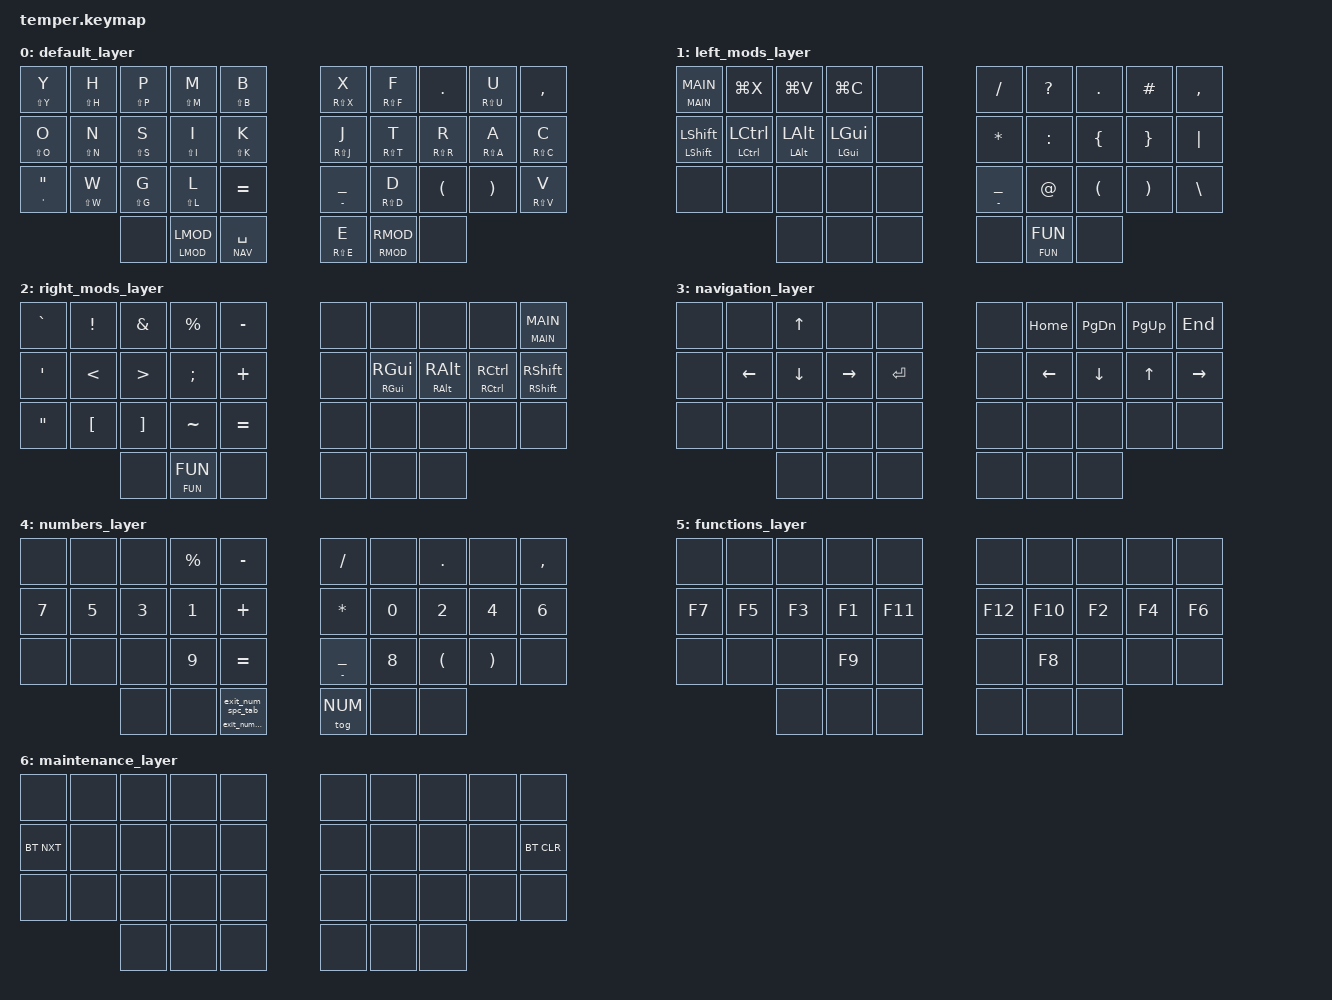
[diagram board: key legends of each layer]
/*
 * Copyright (c) 2020 The ZMK Contributors
 *
 * SPDX-License-Identifier: MIT
 */

#include <behaviors.dtsi>
#include <dt-bindings/zmk/keys.h>
#include <dt-bindings/zmk/bt.h>
#include <dt-bindings/zmk/outputs.h>

#define DEFAULT 0
#define LMOD    1
#define RMOD    2
#define NAV     3
#define NUM     4
#define FUN     5
#define MAIN    6

&mt {
  flavor = "tap-preferred";
  tapping_term_ms = <200>;
};

&lt {
  flavor = "tap-preferred";
  tapping_term_ms = <200>;
  quick_tap_ms = <125>;
  global-quick-tap;
};

&caps_word {
  // continue-list = <UNDERSCORE MINUS>;
};

&sl {
  // release-after-ms = <2000>;
};

// make this more responsive
&sk {
  // release-after-ms = <2000>;
  quick-release;
  // for callum-style mods
  /delete-property/ ignore-modifiers;
};

/ {
  combos {
    compatible = "zmk,combos";
    /*
                      KEY POSITIONS
      ╭────────────────────╮ ╭────────────────────╮
      │  0   1   2   3   4 │ │  5   6   7   8   9 │
      │ 10  11  12  13  14 │ │ 15  16  17  18  19 │
      │ 20  21  22  23  24 │ │ 25  26  27  28  29 │
      ╰───────╮ 30  31  32 │ │ 33  34  35 ╭───────╯
              ╰────────────╯ ╰────────────╯
    */
		// Add combo for /
		combo_del {
			timeout-ms = <50>;
			key-positions = <0 1>;
			bindings = <&kp DEL>;
		};
		combo_q {
			timeout-ms = <50>;
			key-positions = <2 3>;
			bindings = <&mt LS(Q) Q>;
		};
		combo_z {
			timeout-ms = <50>;
			key-positions = <6 7>;
			bindings = <&mt LS(Z) Z>;
		};
		combo_bckspc {
			timeout-ms = <50>;
			key-positions = <17 18>;
			bindings = <&kp BSPC>;
		};
		combo_esc {
			timeout-ms = <50>;
			key-positions = <11 12>;
			bindings = <&kp ESC>;
		};
		combo_tab {
			timeout-ms = <50>;
			key-positions = <12 13>;
			bindings = <&mt LS(TAB) TAB>;
		};
		combo_ret {
			timeout-ms = <50>;
			key-positions = <16 17>;
			bindings = <&kp RET>;
		};
		combo_gt_eq {
			timeout-ms = <50>;
			key-positions = <2 13>;
			bindings = <&gt_eq>;
		};
		combo_lt_eq {
			timeout-ms = <50>;
			key-positions = <13 22>;
			bindings = <&lt_eq>;
		};
		combo_caps_word {
			timeout-ms = <50>;
			key-positions = <0 10>;
			bindings = <&caps_word>;
		};
		combo_dllr {
			timeout-ms = <50>;
			key-positions = <20 21>;
			bindings = <&kp DLLR>;
		};
		combo_not_equal {
			timeout-ms = <50>;
			key-positions = <24 25>;
			bindings = <&nt_eq>;
		};
		combo_caret {
			timeout-ms = <50>;
			key-positions = <28 29>;
			bindings = <&kp CARET>;
		};
		combo_num_word {
			timeout-ms = <50>;
			key-positions = <31 34>;
			bindings = <&tog NUM>;
		};
	};

	macros {
		exit_num_spc_tab: exit_num_spc_tab {
			label = "exit_num_spc_tab";
			compatible = "zmk,behavior-macro";
			#binding-cells = <0>;
			wait-ms = <0>;
			tap-ms = <0>;
			bindings = <&kp SPACE &tog NUM>;
		};
		exit_num_spc_hold: exit_num_spc_hold {
			label = "exit_num_spc_hold";
			compatible = "zmk,behavior-macro";
			#binding-cells = <0>;
			wait-ms = <0>;
			tap-ms = <0>;
			bindings
				= <&macro_tap &tog NUM>
				, <&macro_press &mo NAV>
				, <&macro_pause_for_release>
				, <&macro_release &mo NAV>
				, <&macro_tap &tog NUM>
				;
		};
		nt_eq: nt_eq {
			label = "nt_eq";
			compatible = "zmk,behavior-macro";
			#binding-cells = <0>;
			wait-ms = <0>;
			tap-ms = <0>;
			bindings = <&kp EXCL &kp EQUAL>;
		};
		gt_eq: gt_eq {
			label = "gt_eq";
			wait-ms = <0>;
			tap-ms = <0>;
			compatible = "zmk,behavior-macro";
			#binding-cells = <0>;
			bindings = <&kp GT &kp EQUAL>;
		};
		lt_eq: lt_eq {
			label = "lt_eq";
			wait-ms = <0>;
			tap-ms = <0>;
			compatible = "zmk,behavior-macro";
			#binding-cells = <0>;
			bindings = <&kp LT &kp EQUAL>;
		};
	};

	behaviors {
		qth: quick_tap_hold {
			compatible = "zmk,behavior-hold-tap";
			label = "QUICK_TAP_HOLD";
			#binding-cells = <2>;
			tapping-term-ms = <150>;
			quick_tap_ms = <125>;
			global-quick-tap;
			flavor = "tap-preferred";
			bindings = <&kp>, <&kp>;
		};
		slt: stick_layer_tab {
			compatible = "zmk,behavior-hold-tap";
			label = "STICKY_LAYER_TAB";
			#binding-cells = <2>;
			tapping-term-ms = <150>;
			quick_tap_ms = <0>;
			flavor = "tap-preferred";
			bindings = <&mo>, <&sl>;
		};
		sht: stick_hold_tab {
			compatible = "zmk,behavior-hold-tap";
			label = "STICKY_HOLD_TAB";
			#binding-cells = <2>;
			tapping-term-ms = <150>;
			quick_tap_ms = <0>;
			flavor = "tap-preferred";
			bindings = <&kp>, <&sk>;
		};
		ens: exit_num_spc {
			compatible = "zmk,behavior-hold-tap";
			label = "exit_num_spc";
			#binding-cells = <2>;
			tapping-term-ms = <150>;
			quick_tap_ms = <125>;
			global-quick-tap;
			flavor = "tap-preferred";
			// hold does not work
			bindings = <&exit_num_spc_hold>, <&exit_num_spc_tab>;
		};
	};

	keymap {
		compatible = "zmk,keymap";
		default_layer {
			bindings = <
// ╭─────────────┬─────────────┬─────────────┬─────────────┬─────────────╮   ╭─────────────┬─────────────┬─────────────┬─────────────┬─────────────╮
    &mt LS(Y) Y    &mt LS(H) H   &mt LS(P) P   &mt LS(M) M   &mt LS(B) B       &mt RS(X) X   &mt RS(F) F     &kp DOT     &mt RS(U) U    &kp COMMA
// ├─────────────┼─────────────┼─────────────┼─────────────┼─────────────┤   ├─────────────┼─────────────┼─────────────┼─────────────┼─────────────┤
    &mt LS(O) O    &mt LS(N) N   &mt LS(S) S   &mt LS(I) I   &mt LS(K) K       &mt RS(J) J   &mt RS(T) T   &mt RS(R) R   &mt RS(A) A   &mt RS(C) C
// ├─────────────┼─────────────┼─────────────┼─────────────┼─────────────┤   ├─────────────┼─────────────┼─────────────┼─────────────┼─────────────┤
    &mt SQT DQT    &mt LS(W) W   &mt LS(G) G   &mt LS(L) L     &kp EQUAL     &mt MINUS UNDER &mt RS(D) D    &kp LPAR       &kp RPAR    &mt RS(V) V
// ╰─────────────┴─────────────┼─────────────┼─────────────┼─────────────┤   ├─────────────┼─────────────┼─────────────┼─────────────┴─────────────╯
                                  &none      &slt LMOD LMOD &lt NAV SPACE      &mt RS(E) E  &slt RMOD RMOD   &none
//                             ╰─────────────┴─────────────┴─────────────╯   ╰─────────────┴─────────────┴─────────────╯
			>;
		};

		// good place for shortcuts like cmd+c/cmd+v
		left_mods_layer {
			bindings = <
// ╭─────────────┬─────────────┬─────────────┬─────────────┬─────────────╮   ╭─────────────┬─────────────┬─────────────┬─────────────┬─────────────╮
    &slt MAIN MAIN  &kp LG(X)     &kp LG(V)     &kp LG(C)       &none       		&kp SLASH 		&kp QMARK 		&kp DOT 			&kp HASH 			&kp COMMA
// ├─────────────┼─────────────┼─────────────┼─────────────┼─────────────┤   ├─────────────┼─────────────┼─────────────┼─────────────┼─────────────┤
		&sht LSHIFT LSHIFT &sht LCTRL LCTRL &sht LALT LALT &sht LGUI LGUI &none     &kp STAR 			&kp COLON 		&kp LBRC 			&kp RBRC 			&kp PIPE
// ├─────────────┼─────────────┼─────────────┼─────────────┼─────────────┤   ├─────────────┼─────────────┼─────────────┼─────────────┼─────────────┤
        &none    			&none   			&none   			&none    			&none     			&mt MINUS UNDER &kp AT 			&kp LPAR 			&kp RPAR 			&kp BSLH
// ╰─────────────┴─────────────┼─────────────┼─────────────┼─────────────┤   ├─────────────┼─────────────┼─────────────┼─────────────┴─────────────╯
																		&none    			&none 				&none    					&none   		&slt FUN FUN  	&none
//                             ╰─────────────┴─────────────┴─────────────╯   ╰─────────────┴─────────────┴─────────────╯
			>;
		};

		right_mods_layer {
			bindings = <
// ╭─────────────┬─────────────┬─────────────┬─────────────┬─────────────╮   ╭─────────────┬─────────────┬─────────────┬─────────────┬─────────────╮
			&kp GRAVE 		&kp EXCL 			&kp AMPS 			&kp PRCNT 		&kp MINUS       	 &none 				 &none 				 &none 				 &none 			&slt MAIN MAIN
// ├─────────────┼─────────────┼─────────────┼─────────────┼─────────────┤   ├─────────────┼─────────────┼─────────────┼─────────────┼─────────────┤
			&kp SQT 			&kp LT 				&kp GT 				&kp SEMI 			&kp PLUS     			 &none 		 &sht RGUI RGUI &sht RALT RALT &sht RCTRL RCTRL &sht RSHIFT RSHIFT
// ├─────────────┼─────────────┼─────────────┼─────────────┼─────────────┤   ├─────────────┼─────────────┼─────────────┼─────────────┼─────────────┤
      &kp DQT 			&kp LBKT 			&kp RBKT 			&kp TILDE 		&kp EQUAL     		 &none 				 &none 				 &none 				 &none 				 &none
// ╰─────────────┴─────────────┼─────────────┼─────────────┼─────────────┤   ├─────────────┼─────────────┼─────────────┼─────────────┴─────────────╯
																		&none    	 &slt FUN FUN 	&none    					 &none   		   &none  		  &none
//                             ╰─────────────┴─────────────┴─────────────╯   ╰─────────────┴─────────────┴─────────────╯
			>;
		};

		navigation_layer {
			bindings = <
// ╭─────────────┬─────────────┬─────────────┬─────────────┬─────────────╮   ╭─────────────┬─────────────┬─────────────┬─────────────┬─────────────╮
				&none 			 &none 				 &kp UP 			 &none 				 &none        	 	 &none 				&kp HOME 			&kp PG_DN 		&kp PG_UP 		&kp END
// ├─────────────┼─────────────┼─────────────┼─────────────┼─────────────┤   ├─────────────┼─────────────┼─────────────┼─────────────┼─────────────┤
				&none 			&kp LEFT 			&kp DOWN 			&kp RIGHT 		&kp RET     			 &none 				&kp LEFT 			&kp DOWN 			&kp UP 				&kp RIGHT
// ├─────────────┼─────────────┼─────────────┼─────────────┼─────────────┤   ├─────────────┼─────────────┼─────────────┼─────────────┼─────────────┤
				&none 			&none 				&none 				&none 				&none     		 		 &none 				 &none 				 &none 				 &none 				 &none
// ╰─────────────┴─────────────┼─────────────┼─────────────┼─────────────┤   ├─────────────┼─────────────┼─────────────┼─────────────┴─────────────╯
																		&none    	 	&none  				&none    					 &none   		   &none  		  &none
//                             ╰─────────────┴─────────────┴─────────────╯   ╰─────────────┴─────────────┴─────────────╯
			>;
		};

		// maybe add vim navigations here: j,k,l,h,g
		numbers_layer {
			bindings = <
// ╭─────────────┬─────────────┬─────────────┬─────────────┬─────────────╮   ╭─────────────┬─────────────┬─────────────┬─────────────┬─────────────╮
				&none 			 &none 				 &none 				&kp PERCENT 	&kp MINUS        	 &kp SLASH 			&none 				&kp DOT 			&none 			&kp COMMA
// ├─────────────┼─────────────┼─────────────┼─────────────┼─────────────┤   ├─────────────┼─────────────┼─────────────┼─────────────┼─────────────┤
				&kp N7 			 &kp N5 			 &kp N3 			 &kp N1 			&kp PLUS     			 &kp STAR 			&kp N0 				&kp N2 				&kp N4 			&kp N6
// ├─────────────┼─────────────┼─────────────┼─────────────┼─────────────┤   ├─────────────┼─────────────┼─────────────┼─────────────┼─────────────┤
				&none 			&none 				&none 				 &kp N9 			&kp EQUAL      &mt MINUS UNDER 		&kp N8 				&kp LPAR 			&kp RPAR 		&none
// ╰─────────────┴─────────────┼─────────────┼─────────────┼─────────────┤   ├─────────────┼─────────────┼─────────────┼─────────────┴─────────────╯
																		&none    	 	&none  				&ens 0 0    			&tog NUM   		  &none  		   &none
//                             ╰─────────────┴─────────────┴─────────────╯   ╰─────────────┴─────────────┴─────────────╯
			>;
		};

		functions_layer {
			bindings = <
// ╭─────────────┬─────────────┬─────────────┬─────────────┬─────────────╮   ╭─────────────┬─────────────┬─────────────┬─────────────┬─────────────╮
				&none 			 &none 				 &none 				 &none 				  &none        	 		&none 				&none 				&none 				&none 				&none
// ├─────────────┼─────────────┼─────────────┼─────────────┼─────────────┤   ├─────────────┼─────────────┼─────────────┼─────────────┼─────────────┤
				&kp F7 			 &kp F5 			 &kp F3 			 &kp F1 			 &kp F11     			 	&kp F12 			&kp F10 			&kp F2 				&kp F4 				&kp F6
// ├─────────────┼─────────────┼─────────────┼─────────────┼─────────────┤   ├─────────────┼─────────────┼─────────────┼─────────────┼─────────────┤
				&none 			 &none 				 &none 				 &kp F9 			 &none      				&none 				&kp F8 				&none 				&none 				&none
// ╰─────────────┴─────────────┼─────────────┼─────────────┼─────────────┤   ├─────────────┼─────────────┼─────────────┼─────────────┴─────────────╯
																		&none    	 	&none  				 &none    					&none   		  &none  		   &none
//                             ╰─────────────┴─────────────┴─────────────╯   ╰─────────────┴─────────────┴─────────────╯
			>;
		};

		maintenance_layer {
			bindings = <
// ╭─────────────┬─────────────┬─────────────┬─────────────┬─────────────╮   ╭─────────────┬─────────────┬─────────────┬─────────────┬─────────────╮
				&none 			 &none 				 &none 				 &none 				  &none        	 		&none 				&none 				&none 				&none 				&none
// ├─────────────┼─────────────┼─────────────┼─────────────┼─────────────┤   ├─────────────┼─────────────┼─────────────┼─────────────┼─────────────┤
			&bt BT_NXT 		 &none 				 &none 				 &none 					&none     			 	&none 				&none 				&none 				&none 			&bt BT_CLR
// ├─────────────┼─────────────┼─────────────┼─────────────┼─────────────┤   ├─────────────┼─────────────┼─────────────┼─────────────┼─────────────┤
				&none 			 &none 				 &none 				 &none 			 		&none      				&none 				&none 				&none 				&none 				&none
// ╰─────────────┴─────────────┼─────────────┼─────────────┼─────────────┤   ├─────────────┼─────────────┼─────────────┼─────────────┴─────────────╯
																		&none    	 	&none  				 &none    					&none   		  &none  		   &none
//                             ╰─────────────┴─────────────┴─────────────╯   ╰─────────────┴─────────────┴─────────────╯
			>;
		};
	};
};
